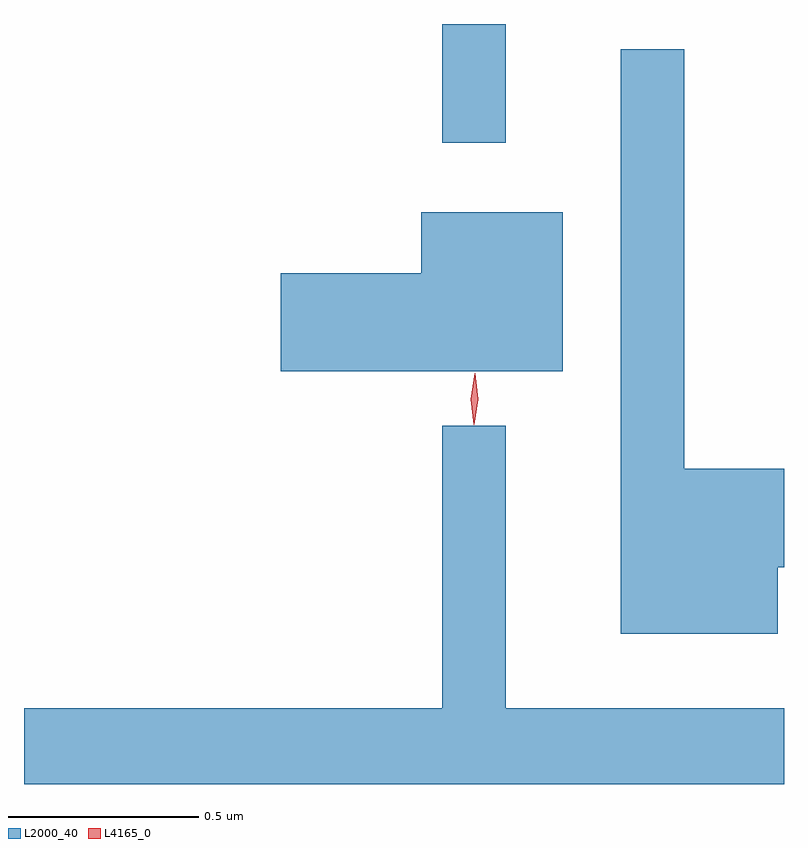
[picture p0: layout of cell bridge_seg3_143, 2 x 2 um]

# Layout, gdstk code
import gdstk
lib = gdstk.Library(unit=1e-6, precision=1e-09)
def R(c, l, rs):  # rectangles x0, y0, x1, y1
    for r in rs: c.add(gdstk.rectangle(r[:2], r[2:], *l))
def P(c, l, *ps):  # polygons
    for p in ps: c.add(gdstk.Polygon(p, *l))
L2000_40 = (2000, 40)
L4165_0 = (4165, 0)

bridge_seg3_143 = lib.new_cell('bridge_seg3_143')
R(bridge_seg3_143, L2000_40, [(822.151,1201.033,822.319,1201.345)])
P(bridge_seg3_143, L2000_40, [(823.034,1199.916),(823.051,1199.916),(823.051,1200.174),(822.789,1200.174),(822.789,1201.278),(822.621,1201.278),(822.621,1199.741),(823.034,1199.741)],
  [(822.469,1200.849),(822.096,1200.849),(822.096,1200.689),(821.726,1200.689),(821.726,1200.431),(822.469,1200.431)],
  [(823.051,1199.544),(822.319,1199.544),(822.319,1200.288),(822.151,1200.288),(822.151,1199.544),(821.051,1199.544),(821.051,1199.345),(823.051,1199.345)])
P(bridge_seg3_143, L4165_0, [(822.235,1200.29),(822.227,1200.358),(822.237,1200.426),(822.238,1200.426),(822.238,1200.426),(822.247,1200.358),(822.236,1200.29),(822.236,1200.29)],
  [(822.235,1200.293),(822.235,1200.293),(822.226,1200.356),(822.237,1200.419),(822.237,1200.42),(822.238,1200.419),(822.246,1200.356),(822.236,1200.293)])

lib.write_gds('bridge_seg3_143.gds')
